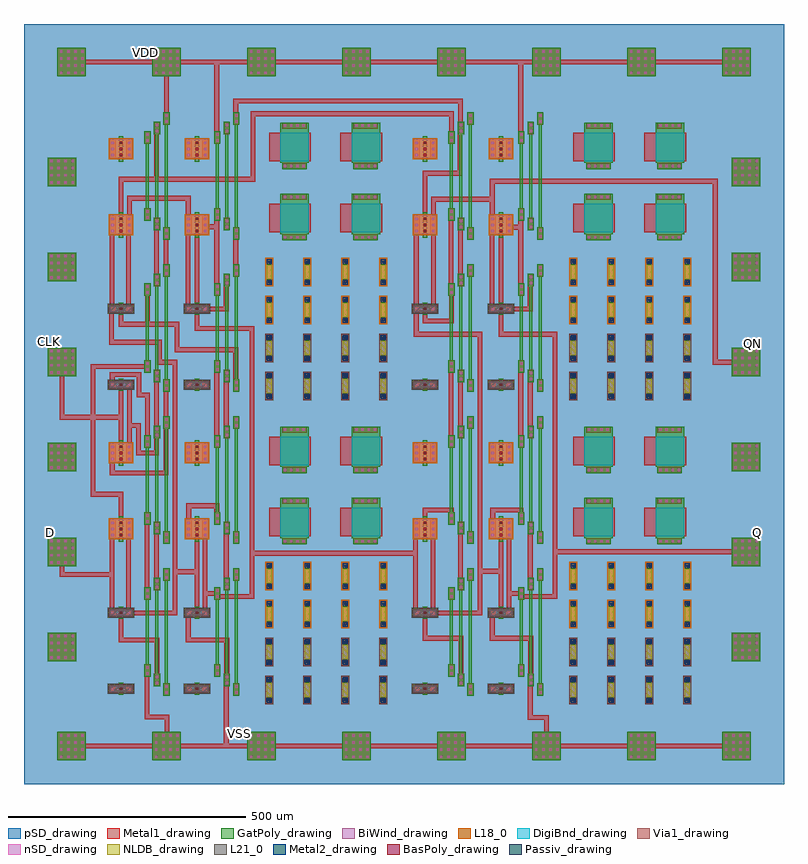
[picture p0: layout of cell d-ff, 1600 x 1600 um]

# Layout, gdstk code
from math import pi, radians
import gdstk
lib = gdstk.Library(unit=1e-6, precision=1e-09)
def R(c, l, rs):  # rectangles x0, y0, x1, y1
    for r in rs: c.add(gdstk.rectangle(r[:2], r[2:], *l))
BiWind_drawing = (3, 0)
GatPoly_drawing = (5, 0)
nSD_drawing = (7, 0)
Metal1_drawing = (8, 0)
Passiv_drawing = (9, 0)
Metal2_drawing = (10, 0)
BasPoly_drawing = (13, 0)
pSD_drawing = (14, 0)
NLDB_drawing = (15, 0)
DigiBnd_drawing = (16, 0)
L18_0 = (18, 0)
Via1_drawing = (19, 0)
L21_0 = (21, 0)

c_16_5x5_flame_1 = lib.new_cell('16_5x5_flame$1')
R(c_16_5x5_flame_1, pSD_drawing, [(-800,-800,800,800), (-750,-750,750,750)])

dcont = lib.new_cell('dcont')
R(dcont, BiWind_drawing, [(-6.5,-6.5,6.5,6.5)])
R(dcont, nSD_drawing, [(-2.5,-2.5,2.5,2.5)])
R(dcont, Metal1_drawing, [(-6.5,-6.5,6.5,6.5)])

pcont_min = lib.new_cell('pcont_min')
R(pcont_min, GatPoly_drawing, [(-4.5,-6.5,4.5,6.5)])
R(pcont_min, nSD_drawing, [(-2.5,-2.5,2.5,2.5)])
R(pcont_min, Metal1_drawing, [(-4.5,-6.5,4.5,6.5)])
R(pcont_min, BasPoly_drawing, [(-2.5,-2.5,2.5,2.5)])

pch_1 = lib.new_cell('Pch$1')
R(pch_1, BiWind_drawing, [(0,17,48,57)])
R(pch_1, L18_0, [(-2,15,50,59)])
pch_1.add(gdstk.FlexPath([(6.5,17),(6.5,57)], 13, ends="flush", simple_path=True, layer=8, datatype=0))  # Metal1_drawing
pch_1.add(gdstk.FlexPath([(41.5,17),(41.5,57)], 13, ends="flush", simple_path=True, layer=8, datatype=0))  # Metal1_drawing
pch_1.add(gdstk.FlexPath([(24,17),(24,57)], 10, ends=(6.5, 6.5), simple_path=True, layer=5, datatype=0))  # GatPoly_drawing
pch_1.add(gdstk.Reference(dcont, (6.5,24)))
pch_1.add(gdstk.Reference(dcont, (6.5,37)))
pch_1.add(gdstk.Reference(dcont, (6.5,50)))
pch_1.add(gdstk.Reference(dcont, (41.5,24)))
pch_1.add(gdstk.Reference(dcont, (41.5,37)))
pch_1.add(gdstk.Reference(dcont, (41.5,50)))
pch_1.add(gdstk.Reference(pcont_min, (24,24)))
pch_1.add(gdstk.Reference(pcont_min, (24,37)))
pch_1.add(gdstk.Reference(pcont_min, (24,50)))

tin_m1_1 = lib.new_cell('tin_M1$1')
R(tin_m1_1, GatPoly_drawing, [(-7,-7,6,6)])
R(tin_m1_1, nSD_drawing, [(-3,-3,2,2)])
R(tin_m1_1, Metal1_drawing, [(-7,-7,6,6)])

v_tin_line3_1 = lib.new_cell('V_tin_line3$1')
v_tin_line3_1.add(gdstk.FlexPath([(-20.5,74),(-20.5,-74)], 6, ends="extended", simple_path=True, layer=5, datatype=0))  # GatPoly_drawing
v_tin_line3_1.add(gdstk.FlexPath([(-0.5,94),(-0.5,-94)], 6, ends="extended", simple_path=True, layer=5, datatype=0))  # GatPoly_drawing
v_tin_line3_1.add(gdstk.FlexPath([(19.5,114),(19.5,-114)], 6, ends="extended", simple_path=True, layer=5, datatype=0))  # GatPoly_drawing
r = gdstk.Reference(tin_m1_1, (-20.5,74), rotation=pi); r.repetition = gdstk.Repetition(2, 3, v1=(0,13), v2=(20,20)); v_tin_line3_1.add(r)
r = gdstk.Reference(tin_m1_1, (-20.5,-88), rotation=pi); r.repetition = gdstk.Repetition(2, 3, v1=(0,13), v2=(20,-20)); v_tin_line3_1.add(r)

pmos_array_1 = lib.new_cell('pmos_array$1')
R(pmos_array_1, pSD_drawing, [(-160,-160,160,160)])
r = gdstk.Reference(pch_1, (-140,-140)); r.repetition = gdstk.Repetition(2, 2, v1=(160,0), v2=(0,160)); pmos_array_1.add(r)
pmos_array_1.add(gdstk.Reference(v_tin_line3_1, (-40,0)))
pmos_array_1.add(gdstk.Reference(v_tin_line3_1, (107,0)))

nch_1 = lib.new_cell('Nch$1')
R(nch_1, BiWind_drawing, [(0,18.5,48,28.5)])
R(nch_1, Via1_drawing, [(-2,15,50,32)])
R(nch_1, L21_0, [(-4,13,52,34)])
nch_1.add(gdstk.FlexPath([(6.5,17),(6.5,30)], 13, ends="flush", simple_path=True, layer=8, datatype=0))  # Metal1_drawing
nch_1.add(gdstk.FlexPath([(41.5,17),(41.5,30)], 13, ends="flush", simple_path=True, layer=8, datatype=0))  # Metal1_drawing
nch_1.add(gdstk.FlexPath([(24,17),(24,30)], 10, ends=(6.5, 6.5), simple_path=True, layer=5, datatype=0))  # GatPoly_drawing
nch_1.add(gdstk.Reference(dcont, (6.5,23.5)))
nch_1.add(gdstk.Reference(dcont, (41.5,23.5)))
nch_1.add(gdstk.Reference(pcont_min, (24,23.5)))

nmos_array_1 = lib.new_cell('nmos_array$1')
R(nmos_array_1, pSD_drawing, [(-160,-160,160,160)])
r = gdstk.Reference(nch_1, (-140,-143)); r.repetition = gdstk.Repetition(2, 2, v1=(160,0), v2=(0,160)); nmos_array_1.add(r)
nmos_array_1.add(gdstk.Reference(v_tin_line3_1, (-40,0)))
nmos_array_1.add(gdstk.Reference(v_tin_line3_1, (107,0)))

via = lib.new_cell('Via')
R(via, Metal1_drawing, [(-6.5,-6.5,6.5,6.5)])
R(via, Passiv_drawing, [(-2.5,-2.5,2.5,2.5)])
R(via, Metal2_drawing, [(-5,-5,5,5)])
R(via, BasPoly_drawing, [(-2.5,-2.5,2.5,2.5)])

r_ndiff = lib.new_cell('R_ndiff')
R(r_ndiff, Via1_drawing, [(-2,-2,15,58)])
r_ndiff.add(gdstk.FlexPath([(6.5,0),(6.5,56)], 10, ends="flush", simple_path=True, layer=3, datatype=0))  # BiWind_drawing
r_ndiff.add(gdstk.FlexPath([(6.5,13),(6.5,43)], 10, ends="flush", simple_path=True, layer=15, datatype=0))  # NLDB_drawing
r_ndiff.add(gdstk.Reference(dcont, (6.5,6.5), rotation=pi/2))
r_ndiff.add(gdstk.Reference(via, (6.5,6.5)))
r_ndiff.add(gdstk.Reference(dcont, (6.5,49.5), rotation=pi/2))
r_ndiff.add(gdstk.Reference(via, (6.5,49.5)))

r_pdiff_1 = lib.new_cell('R_pdiff$1')
R(r_pdiff_1, L18_0, [(-2,-2,15,58)])
r_pdiff_1.add(gdstk.FlexPath([(6.5,0),(6.5,56)], 10, ends="flush", simple_path=True, layer=3, datatype=0))  # BiWind_drawing
r_pdiff_1.add(gdstk.FlexPath([(6.5,13),(6.5,43)], 10, ends="flush", simple_path=True, layer=15, datatype=0))  # NLDB_drawing
r_pdiff_1.add(gdstk.Reference(dcont, (6.5,6.5), rotation=pi/2))
r_pdiff_1.add(gdstk.Reference(via, (6.5,6.5)))
r_pdiff_1.add(gdstk.Reference(dcont, (6.5,49.5), rotation=pi/2))
r_pdiff_1.add(gdstk.Reference(via, (6.5,49.5)))

resistor_array_1 = lib.new_cell('resistor_array$1')
R(resistor_array_1, pSD_drawing, [(-160,-160,160,160)])
r = gdstk.Reference(r_ndiff, (-130,-150)); r.repetition = gdstk.Repetition(4, 2, v1=(80,0), v2=(0,80)); resistor_array_1.add(r)
r = gdstk.Reference(r_pdiff_1, (-130,10)); r.repetition = gdstk.Repetition(4, 2, v1=(80,0), v2=(0,80)); resistor_array_1.add(r)

tin_cap = lib.new_cell('TIN_cap')
R(tin_cap, GatPoly_drawing, [(23.5,-4,83.5,81)])
R(tin_cap, Metal1_drawing, [(0,0,87.5,60)])
R(tin_cap, DigiBnd_drawing, [(23.5,0,83.5,60)])

cap_con_1 = lib.new_cell('cap_con$1')
cap_con_1.add(gdstk.Reference(tin_cap, (-43.75,-38.5)))
r = gdstk.Reference(tin_m1_1, (28.25,35.5), rotation=pi); r.repetition = gdstk.Repetition(4, 1, v1=(-13,0), v2=(0,0)); cap_con_1.add(r)
r = gdstk.Reference(tin_m1_1, (28.25,-49.5), rotation=pi); r.repetition = gdstk.Repetition(4, 1, v1=(-13,0), v2=(0,0)); cap_con_1.add(r)

tin_m1_cap_array_1 = lib.new_cell('tin_m1_cap_array$1')
R(tin_m1_cap_array_1, pSD_drawing, [(-160,-160,160,160)])
r = gdstk.Reference(cap_con_1, (-80,-80)); r.repetition = gdstk.Repetition(2, 2, v1=(150,0), v2=(0,150)); tin_m1_cap_array_1.add(r)

base_array_1 = lib.new_cell('base_array$1')
base_array_1.add(gdstk.Reference(pmos_array_1, (-160,160)))
base_array_1.add(gdstk.Reference(nmos_array_1, (-160,-160)))
base_array_1.add(gdstk.Reference(resistor_array_1, (160,-160)))
base_array_1.add(gdstk.Reference(tin_m1_cap_array_1, (160,160)))

pad_60_m1_tin_1 = lib.new_cell('pad_60_m1_tin$1')
R(pad_60_m1_tin_1, GatPoly_drawing, [(-30,-30,30,30), (-30,-30,30,30)])
R(pad_60_m1_tin_1, Metal1_drawing, [(-30,-30,30,30)])
r = gdstk.Reference(tin_m1_1, (22,-23), rotation=pi/2); r.repetition = gdstk.Repetition(4, 4, v1=(0,15), v2=(-15,0)); pad_60_m1_tin_1.add(r)

base_rev0_93 = lib.new_cell('base_Rev0.93')
base_rev0_93.add(gdstk.Reference(c_16_5x5_flame_1, (0,0)))
r = gdstk.Reference(base_array_1, (-320,-320)); r.repetition = gdstk.Repetition(2, 2, v1=(640,0), v2=(0,640)); base_rev0_93.add(r)
r = gdstk.Reference(pad_60_m1_tin_1, (700,720), rotation=pi/2); r.repetition = gdstk.Repetition(1, 8, v1=(0,0), v2=(-200,0)); base_rev0_93.add(r)
r = gdstk.Reference(pad_60_m1_tin_1, (700,-720), rotation=pi/2); r.repetition = gdstk.Repetition(1, 8, v1=(0,0), v2=(-200,0)); base_rev0_93.add(r)
r = gdstk.Reference(pad_60_m1_tin_1, (-720,488), rotation=pi); r.repetition = gdstk.Repetition(1, 6, v1=(0,0), v2=(0,-200)); base_rev0_93.add(r)
r = gdstk.Reference(pad_60_m1_tin_1, (720,488), rotation=pi); r.repetition = gdstk.Repetition(1, 6, v1=(0,0), v2=(0,-200)); base_rev0_93.add(r)
base_rev0_93.add(gdstk.Label('pin01', (-699,-719.5), layer=8, texttype=0))
base_rev0_93.add(gdstk.Label('pin02', (-499,-720), layer=8, texttype=0))
base_rev0_93.add(gdstk.Label('pin03', (-299,-720), layer=8, texttype=0))
base_rev0_93.add(gdstk.Label('pin04', (-99,-720), layer=8, texttype=0))
base_rev0_93.add(gdstk.Label('pin05', (101,-720), layer=8, texttype=0))
base_rev0_93.add(gdstk.Label('pin06', (301,-719.5), layer=8, texttype=0))
base_rev0_93.add(gdstk.Label('pin07', (501,-720), layer=8, texttype=0))
base_rev0_93.add(gdstk.Label('pin08', (701,-719.5), layer=8, texttype=0))
base_rev0_93.add(gdstk.Label('pin09', (720.5,-511), layer=8, texttype=0))
base_rev0_93.add(gdstk.Label('pin10', (720,-311), layer=8, texttype=0))
base_rev0_93.add(gdstk.Label('pin11', (720,-111), layer=8, texttype=0))
base_rev0_93.add(gdstk.Label('pin12', (720,89), layer=8, texttype=0))
base_rev0_93.add(gdstk.Label('pin13', (720,289), layer=8, texttype=0))
base_rev0_93.add(gdstk.Label('pin14', (720,489), layer=8, texttype=0))
base_rev0_93.add(gdstk.Label('pin15', (701,720), layer=8, texttype=0))
base_rev0_93.add(gdstk.Label('pin16', (501,720), layer=8, texttype=0))
base_rev0_93.add(gdstk.Label('pin17', (301,720), layer=8, texttype=0))
base_rev0_93.add(gdstk.Label('pin18', (101,720), layer=8, texttype=0))
base_rev0_93.add(gdstk.Label('pin19', (-99,720), layer=8, texttype=0))
base_rev0_93.add(gdstk.Label('pin20', (-299,720), layer=8, texttype=0))
base_rev0_93.add(gdstk.Label('pin21', (-499,720), layer=8, texttype=0))
base_rev0_93.add(gdstk.Label('pin22', (-699,720), layer=8, texttype=0))
base_rev0_93.add(gdstk.Label('pin23', (-720,489), layer=8, texttype=0))
base_rev0_93.add(gdstk.Label('pin24', (-720,289), layer=8, texttype=0))
base_rev0_93.add(gdstk.Label('pin25', (-720,89), layer=8, texttype=0))
base_rev0_93.add(gdstk.Label('pin26', (-720,-111), layer=8, texttype=0))
base_rev0_93.add(gdstk.Label('pin27', (-720,-311), layer=8, texttype=0))
base_rev0_93.add(gdstk.Label('pin28', (-720,-511), layer=8, texttype=0))

d_ff = lib.new_cell('d-ff')
d_ff.add(gdstk.FlexPath([(270,-229),(270,-255),(326,-255),(326,-194),(326,-194)], 10, ends="flush", simple_path=True, layer=8, datatype=0))  # Metal1_drawing
d_ff.add(gdstk.FlexPath([(430,-65),(430,-217)], 10, ends="flush", simple_path=True, layer=8, datatype=0))  # Metal1_drawing
d_ff.add(gdstk.FlexPath([(479,-828),(546,-828),(546,-264),(430,-264),(430,-228)], 10, ends="flush", simple_path=True, layer=8, datatype=0))  # Metal1_drawing
d_ff.add(gdstk.FlexPath([(270,-388),(270,-507)], 10, ends="flush", simple_path=True, layer=8, datatype=0))  # Metal1_drawing
d_ff.add(gdstk.FlexPath([(288,-389),(288,-506)], 10, ends="flush", simple_path=True, layer=8, datatype=0))  # Metal1_drawing
d_ff.add(gdstk.FlexPath([(252,-377),(252,-361),(308,-361),(308,-404),(326,-404),(326,-492)], 10, ends="flush", simple_path=True, layer=8, datatype=0))  # Metal1_drawing
d_ff.add(gdstk.FlexPath([(430,-705),(430,-856)], 10, ends="flush", simple_path=True, layer=8, datatype=0))  # Metal1_drawing
d_ff.add(gdstk.FlexPath([(388,-776),(426,-776)], 10, ends="flush", simple_path=True, layer=8, datatype=0))  # Metal1_drawing
d_ff.add(gdstk.FlexPath([(270,-868),(270,-920),(346,-920),(346,-994)], 10, ends="flush", simple_path=True, layer=8, datatype=0))  # Metal1_drawing
d_ff.add(gdstk.FlexPath([(447,-856),(447,-705)], 10, ends="flush", simple_path=True, layer=8, datatype=0))  # Metal1_drawing
d_ff.add(gdstk.FlexPath([(412,-868),(412,-920),(493,-920),(493,-993)], 10, ends="flush", simple_path=True, layer=8, datatype=0))  # Metal1_drawing
d_ff.add(gdstk.FlexPath([(892,-216),(892,-65)], 10, ends="flush", simple_path=True, layer=8, datatype=0))  # Metal1_drawing
d_ff.add(gdstk.FlexPath([(928,-216),(928,-65)], 10, ends="flush", simple_path=True, layer=8, datatype=0))  # Metal1_drawing
d_ff.add(gdstk.FlexPath([(1070,-216),(1070,-64)], 10, ends="flush", simple_path=True, layer=8, datatype=0))  # Metal1_drawing
d_ff.add(gdstk.FlexPath([(910,-228),(910,-248),(966,-248),(966,-194)], 10, ends="flush", simple_path=True, layer=8, datatype=0))  # Metal1_drawing
d_ff.add(gdstk.FlexPath([(910,-868),(910,-916),(986,-916),(986,-993)], 10, ends="flush", simple_path=True, layer=8, datatype=0))  # Metal1_drawing
d_ff.add(gdstk.FlexPath([(1052,-868),(1052,-916),(1133,-916),(1133,-993)], 10, ends="flush", simple_path=True, layer=8, datatype=0))  # Metal1_drawing
d_ff.add(gdstk.FlexPath([(927,-857),(927,-705)], 10, ends="flush", simple_path=True, layer=8, datatype=0))  # Metal1_drawing
d_ff.add(gdstk.FlexPath([(1087,-705),(1087,-857)], 10, ends="flush", simple_path=True, layer=8, datatype=0))  # Metal1_drawing
d_ff.add(gdstk.FlexPath([(1070,-705),(1070,-857)], 10, ends="flush", simple_path=True, layer=8, datatype=0))  # Metal1_drawing
d_ff.add(gdstk.FlexPath([(1031,-775),(1065,-775)], 10, ends="flush", simple_path=True, layer=8, datatype=0))  # Metal1_drawing
d_ff.add(gdstk.FlexPath([(1119,-828),(1184,-828),(1184,-276),(1070,-276),(1070,-228)], 10, ends="flush", simple_path=True, layer=8, datatype=0))  # Metal1_drawing
d_ff.add(gdstk.FlexPath([(931,-863),(1026,-863),(1026,-276),(892,-276),(892,-227)], 10, ends="flush", simple_path=True, layer=8, datatype=0))  # Metal1_drawing
d_ff.add(gdstk.FlexPath([(1107,-822),(1092,-822)], 10, ends="flush", simple_path=True, layer=8, datatype=0))  # Metal1_drawing
d_ff.add(gdstk.FlexPath([(467,-822),(452,-822)], 10, ends="flush", simple_path=True, layer=8, datatype=0))  # Metal1_drawing
d_ff.add(gdstk.FlexPath([(196,297),(336,297),(336,297)], 10, ends="flush", simple_path=True, layer=8, datatype=0))  # Metal1_drawing
d_ff.add(gdstk.FlexPath([(396,297),(536,297)], 10, ends="flush", simple_path=True, layer=8, datatype=0))  # Metal1_drawing
d_ff.add(gdstk.FlexPath([(596,297),(736,297)], 10, ends="flush", simple_path=True, layer=8, datatype=0))  # Metal1_drawing
d_ff.add(gdstk.FlexPath([(796,297),(936,297)], 10, ends="flush", simple_path=True, layer=8, datatype=0))  # Metal1_drawing
d_ff.add(gdstk.FlexPath([(996,297),(1136,297)], 10, ends="flush", simple_path=True, layer=8, datatype=0))  # Metal1_drawing
d_ff.add(gdstk.FlexPath([(1196,297),(1336,297)], 10, ends="flush", simple_path=True, layer=8, datatype=0))  # Metal1_drawing
d_ff.add(gdstk.FlexPath([(1396,297),(1536,297)], 10, ends="flush", simple_path=True, layer=8, datatype=0))  # Metal1_drawing
d_ff.add(gdstk.FlexPath([(396,-1143),(536,-1143)], 10, ends="flush", simple_path=True, layer=8, datatype=0))  # Metal1_drawing
d_ff.add(gdstk.FlexPath([(196,-1143),(336,-1143),(336,-1143)], 10, ends="flush", simple_path=True, layer=8, datatype=0))  # Metal1_drawing
d_ff.add(gdstk.FlexPath([(596,-1143),(736,-1143)], 10, ends="flush", simple_path=True, layer=8, datatype=0))  # Metal1_drawing
d_ff.add(gdstk.FlexPath([(796,-1143),(936,-1143)], 10, ends="flush", simple_path=True, layer=8, datatype=0))  # Metal1_drawing
d_ff.add(gdstk.FlexPath([(996,-1143),(1136,-1143)], 10, ends="flush", simple_path=True, layer=8, datatype=0))  # Metal1_drawing
d_ff.add(gdstk.FlexPath([(1196,-1143),(1336,-1143)], 10, ends="flush", simple_path=True, layer=8, datatype=0))  # Metal1_drawing
d_ff.add(gdstk.FlexPath([(1396,-1143),(1536,-1143)], 10, ends="flush", simple_path=True, layer=8, datatype=0))  # Metal1_drawing
d_ff.add(gdstk.FlexPath([(366,191),(366,267),(366,267)], 10, ends="flush", simple_path=True, layer=8, datatype=0))  # Metal1_drawing
d_ff.add(gdstk.FlexPath([(365,-129),(365,-77)], 10, ends="flush", simple_path=True, layer=8, datatype=0))  # Metal1_drawing
d_ff.add(gdstk.FlexPath([(365,-397),(365,-449)], 10, ends="flush", simple_path=True, layer=8, datatype=0))  # Metal1_drawing
d_ff.add(gdstk.FlexPath([(345,-495),(345,-526),(307,-526),(307,-468),(288,-468)], 10, ends="flush", simple_path=True, layer=8, datatype=0))  # Metal1_drawing
d_ff.add(gdstk.FlexPath([(365,-475),(365,-568),(252,-568),(252,-546)], 10, ends="flush", simple_path=True, layer=8, datatype=0))  # Metal1_drawing
d_ff.add(gdstk.FlexPath([(146,-365),(146,-451),(267,-451),(267,-451)], 10, ends="flush", simple_path=True, layer=8, datatype=0))  # Metal1_drawing
d_ff.add(gdstk.FlexPath([(211,-446),(211,-344),(326,-344)], 10, ends="flush", simple_path=True, layer=8, datatype=0))  # Metal1_drawing
d_ff.add(gdstk.FlexPath([(211,-456),(211,-613),(270,-613),(270,-667)], 10, ends="flush", simple_path=True, layer=8, datatype=0))  # Metal1_drawing
d_ff.add(gdstk.FlexPath([(330,-255),(388,-255),(388,-309),(512,-309),(512,-372)], 10, ends="flush", simple_path=True, layer=8, datatype=0))  # Metal1_drawing
d_ff.add(gdstk.FlexPath([(325,-676),(325,-810)], 10, ends="flush", simple_path=True, layer=8, datatype=0))  # Metal1_drawing
d_ff.add(gdstk.FlexPath([(325,-996),(325,-1082),(367,-1082),(367,-1113)], 10, ends="flush", simple_path=True, layer=8, datatype=0))  # Metal1_drawing
d_ff.add(gdstk.FlexPath([(286,-856),(286,-705)], 10, ends="flush", simple_path=True, layer=8, datatype=0))  # Metal1_drawing
d_ff.add(gdstk.FlexPath([(251,-856),(251,-705)], 10, ends="flush", simple_path=True, layer=8, datatype=0))  # Metal1_drawing
d_ff.add(gdstk.FlexPath([(345,-696),(345,-790)], 10, ends="flush", simple_path=True, layer=8, datatype=0))  # Metal1_drawing
d_ff.add(gdstk.FlexPath([(146,-765),(146,-782),(246,-782)], 10, ends="flush", simple_path=True, layer=8, datatype=0))  # Metal1_drawing
d_ff.add(gdstk.FlexPath([(251,-216),(251,-63),(251,-63)], 10, ends="flush", simple_path=True, layer=8, datatype=0))  # Metal1_drawing
d_ff.add(gdstk.FlexPath([(286,-216),(286,-64)], 10, ends="flush", simple_path=True, layer=8, datatype=0))  # Metal1_drawing
d_ff.add(gdstk.FlexPath([(270,-27),(270,50),(553,50)], 10, ends="flush", simple_path=True, layer=8, datatype=0))  # Metal1_drawing
d_ff.add(gdstk.FlexPath([(345,145),(345,55)], 10, ends="flush", simple_path=True, layer=8, datatype=0))  # Metal1_drawing
d_ff.add(gdstk.FlexPath([(345,-57),(345,-149)], 10, ends="flush", simple_path=True, layer=8, datatype=0))  # Metal1_drawing
d_ff.add(gdstk.FlexPath([(345,-377),(345,-469)], 10, ends="flush", simple_path=True, layer=8, datatype=0))  # Metal1_drawing
d_ff.add(gdstk.FlexPath([(288,-27),(288,10),(412,10),(412,-26)], 10, ends="flush", simple_path=True, layer=8, datatype=0))  # Metal1_drawing
d_ff.add(gdstk.FlexPath([(472,151),(472,292),(472,292),(472,292),(472,292)], 10, ends="flush", simple_path=True, layer=8, datatype=0))  # Metal1_drawing
d_ff.add(gdstk.FlexPath([(472,-357),(472,-489)], 10, ends="flush", simple_path=True, layer=8, datatype=0))  # Metal1_drawing
d_ff.add(gdstk.FlexPath([(492,-469),(492,-377)], 10, ends="flush", simple_path=True, layer=8, datatype=0))  # Metal1_drawing
d_ff.add(gdstk.FlexPath([(472,-651),(472,-637),(413,-637),(413,-666)], 10, ends="flush", simple_path=True, layer=8, datatype=0))  # Metal1_drawing
d_ff.add(gdstk.FlexPath([(492,-1017),(492,-1138)], 10, ends="flush", simple_path=True, layer=8, datatype=0))  # Metal1_drawing
d_ff.add(gdstk.FlexPath([(492,-697),(492,-789)], 10, ends="flush", simple_path=True, layer=8, datatype=0))  # Metal1_drawing
d_ff.add(gdstk.FlexPath([(291,-863),(384,-863),(384,-335),(351,-335),(351,-293),(245,-293),(245,-293),(245,-293)], 10, ends="flush", simple_path=True, layer=8, datatype=0))  # Metal1_drawing
d_ff.add(gdstk.FlexPath([(451,-223),(492,-223),(492,-175)], 10, ends="flush", simple_path=True, layer=8, datatype=0))  # Metal1_drawing
d_ff.add(gdstk.FlexPath([(411,-216),(411,-64)], 10, ends="flush", simple_path=True, layer=8, datatype=0))  # Metal1_drawing
d_ff.add(gdstk.FlexPath([(472,-37),(472,-169)], 10, ends="flush", simple_path=True, layer=8, datatype=0))  # Metal1_drawing
d_ff.add(gdstk.FlexPath([(454,-50),(467,-50)], 10, ends="flush", simple_path=True, layer=8, datatype=0))  # Metal1_drawing
d_ff.add(gdstk.FlexPath([(512,-129),(512,-77)], 10, ends="flush", simple_path=True, layer=8, datatype=0))  # Metal1_drawing
d_ff.add(gdstk.FlexPath([(548,55),(548,188),(966,188),(966,151)], 10, ends="flush", simple_path=True, layer=8, datatype=0))  # Metal1_drawing
d_ff.add(gdstk.FlexPath([(512,191),(512,215),(985,215),(985,171)], 10, ends="flush", simple_path=True, layer=8, datatype=0))  # Metal1_drawing
d_ff.add(gdstk.FlexPath([(1112,151),(1112,292)], 10, ends="flush", simple_path=True, layer=8, datatype=0))  # Metal1_drawing
d_ff.add(gdstk.FlexPath([(965,-37),(965,-169)], 10, ends="flush", simple_path=True, layer=8, datatype=0))  # Metal1_drawing
d_ff.add(gdstk.FlexPath([(965,-357),(965,-489)], 10, ends="flush", simple_path=True, layer=8, datatype=0))  # Metal1_drawing
d_ff.add(gdstk.FlexPath([(985,-57),(985,-149)], 10, ends="flush", simple_path=True, layer=8, datatype=0))  # Metal1_drawing
d_ff.add(gdstk.FlexPath([(985,-377),(985,-469),(985,-469)], 10, ends="flush", simple_path=True, layer=8, datatype=0))  # Metal1_drawing
d_ff.add(gdstk.FlexPath([(985,-697),(985,-789)], 10, ends="flush", simple_path=True, layer=8, datatype=0))  # Metal1_drawing
d_ff.add(gdstk.FlexPath([(966,-651),(966,-646),(910,-646),(910,-667)], 10, ends="flush", simple_path=True, layer=8, datatype=0))  # Metal1_drawing
d_ff.add(gdstk.FlexPath([(890,-705),(890,-857)], 10, ends="flush", simple_path=True, layer=8, datatype=0))  # Metal1_drawing
d_ff.add(gdstk.FlexPath([(551,-737),(885,-737)], 10, ends="flush", simple_path=True, layer=8, datatype=0))  # Metal1_drawing
d_ff.add(gdstk.FlexPath([(250,-229),(250,-288)], 10, ends="flush", simple_path=True, layer=8, datatype=0))  # Metal1_drawing
d_ff.add(gdstk.FlexPath([(1132,-1017),(1132,-1083),(1166,-1083),(1166,-1113)], 10, ends="flush", simple_path=True, layer=8, datatype=0))  # Metal1_drawing
d_ff.add(gdstk.FlexPath([(1132,-697),(1132,-789)], 10, ends="flush", simple_path=True, layer=8, datatype=0))  # Metal1_drawing
d_ff.add(gdstk.FlexPath([(1112,-357),(1112,-489)], 10, ends="flush", simple_path=True, layer=8, datatype=0))  # Metal1_drawing
d_ff.add(gdstk.FlexPath([(1132,-469),(1132,-377)], 10, ends="flush", simple_path=True, layer=8, datatype=0))  # Metal1_drawing
d_ff.add(gdstk.FlexPath([(1112,-37),(1112,-169)], 10, ends="flush", simple_path=True, layer=8, datatype=0))  # Metal1_drawing
d_ff.add(gdstk.FlexPath([(984,145),(984,63),(910,63),(910,-27)], 10, ends="flush", simple_path=True, layer=8, datatype=0))  # Metal1_drawing
d_ff.add(gdstk.FlexPath([(928,-27),(928,8),(1052,8),(1052,-26)], 10, ends="flush", simple_path=True, layer=8, datatype=0))  # Metal1_drawing
d_ff.add(gdstk.FlexPath([(1051,-217),(1051,-65)], 10, ends="flush", simple_path=True, layer=8, datatype=0))  # Metal1_drawing
d_ff.add(gdstk.FlexPath([(1094,-51),(1107,-51)], 10, ends="flush", simple_path=True, layer=8, datatype=0))  # Metal1_drawing
d_ff.add(gdstk.FlexPath([(1132,-175),(1132,-223),(1091,-223)], 10, ends="flush", simple_path=True, layer=8, datatype=0))  # Metal1_drawing
d_ff.add(gdstk.FlexPath([(1053,-666),(1053,-646),(1112,-646),(1112,-651)], 10, ends="flush", simple_path=True, layer=8, datatype=0))  # Metal1_drawing
d_ff.add(gdstk.FlexPath([(1556,-734),(1189,-734)], 10, ends="flush", simple_path=True, layer=8, datatype=0))  # Metal1_drawing
d_ff.add(gdstk.FlexPath([(1052,13),(1052,46),(1521,46),(1521,-335),(1556,-335)], 10, ends="flush", simple_path=True, layer=8, datatype=0))  # Metal1_drawing
d_ff.add(gdstk.Reference(base_rev0_93, (866,-423)))
d_ff.add(gdstk.Label('CLK', (120,-292.4), layer=8, texttype=0))
d_ff.add(gdstk.Label('D', (121,-694), layer=8, texttype=0))
d_ff.add(gdstk.Label('VSS', (520,-1117.4), layer=8, texttype=0))
d_ff.add(gdstk.Label('VDD', (322,316.6), layer=8, texttype=0))
d_ff.add(gdstk.Label('QN', (1599,-295.4), layer=8, texttype=0))
d_ff.add(gdstk.Label('Q', (1609.4,-693.7), layer=8, texttype=0))

lib.write_gds('d-ff.gds')
